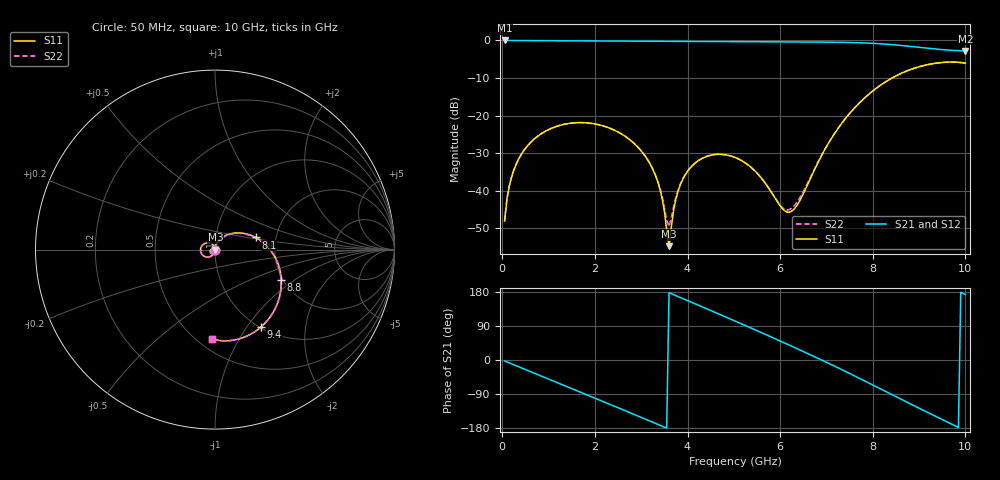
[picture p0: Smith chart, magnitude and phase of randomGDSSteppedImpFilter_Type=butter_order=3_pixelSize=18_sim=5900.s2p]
! freq	dB(S11)	phase(S11)	dB(S12)	phase(S12)
!  dB(S21)	phase(S21)	dB(S22)	phase(S22)
!S-par simulation data
#  GHz  S  DB  R 50
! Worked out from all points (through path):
!   200 points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, 50 MHz to 10 GHz, reference 50 ohm
!   highest |S21| = -0.01 dB at 50 MHz (marker M1); lowest = -2.8 dB at 10 GHz (marker M2)
!   group delay of S21, straight-line fit = 151 ps
!   lowest |S11| = -54.7 dB at 3.6 GHz (marker M3), VSWR 1.00, Z = 50.2 - j0.0278 ohm
!   |S11| at or under -10 dB: start of sweep to 8.415 GHz
!   |S22| runs from -49.5 to -5.8 dB; largest |S21 - S12| = 0
!   S11 on the Smith chart (normalised r, x): 50 MHz: 1.00, -0.01; 8.1 GHz: 1.57, +0.22; 8.8 GHz: 1.95, -0.80; 9.4 GHz: 1.02, -1.17; 10 GHz: 0.59, -0.78
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0.05  -48.04 -90.2  -0.01 -2.6  -0.01 -2.6  -48.04 -90.3
0.2  -36.35 -99.1  -0.02 -10.2  -0.02 -10.2  -36.35 -99.2
0.5  -28.72 -115.6  -0.04 -25.3  -0.04 -25.3  -28.72 -115.7
1.15  -22.96 -148.9  -0.09 -57.9  -0.09 -57.9  -22.96 -149.2
1.75  -21.87 -179.4  -0.13 -88.0  -0.13 -88.0  -21.87 -179.8
2.8  -26.89 126.4  -0.17 -141.2  -0.17 -141.2  -26.88 124.7
3.15  -32.00 106.8  -0.19 -159.2  -0.19 -159.2  -31.96 103.5
3.4  -39.38 88.6  -0.21 -172.1  -0.21 -172.1  -39.12 80.8
3.6  -54.73 -8.7  -0.23 177.6  -0.23 177.6  -49.52 -6.5
3.75  -42.14 -87.2  -0.24 169.8  -0.24 169.8  -41.60 -76.8
4  -34.84 -107.5  -0.26 156.8  -0.26 156.8  -34.74 -102.8
4.45  -30.71 -133.2  -0.29 133.3  -0.29 133.3  -30.68 -130.7
5.05  -31.26 -165.7  -0.33 101.6  -0.33 101.6  -31.25 -164.1
5.6  -36.70 162.0  -0.36 72.0  -0.36 72.0  -36.73 162.3
6.15  -45.68 106.2  -0.38 41.9  -0.38 41.9  -45.12 98.5
6.7  -35.47 84.0  -0.42 11.1  -0.42 11.1  -35.21 78.5
7.35  -21.72 58.3  -0.51 -26.5  -0.51 -26.5  -21.70 56.5
8.1  -12.50 16.5  -0.84 -72.0  -0.84 -72.0  -12.49 15.8
8.35  -10.46 1.7  -1.05 -87.5  -1.05 -87.5  -10.46 1.1
8.8  -7.81 -24.9  -1.57 -115.2  -1.57 -115.2  -7.81 -25.3
9.4  -6.00 -59.1  -2.34 -151.2  -2.34 -151.2  -6.00 -59.3
10  -6.04 -91.7  -2.77 172.6  -2.77 172.6  -6.04 -91.7
